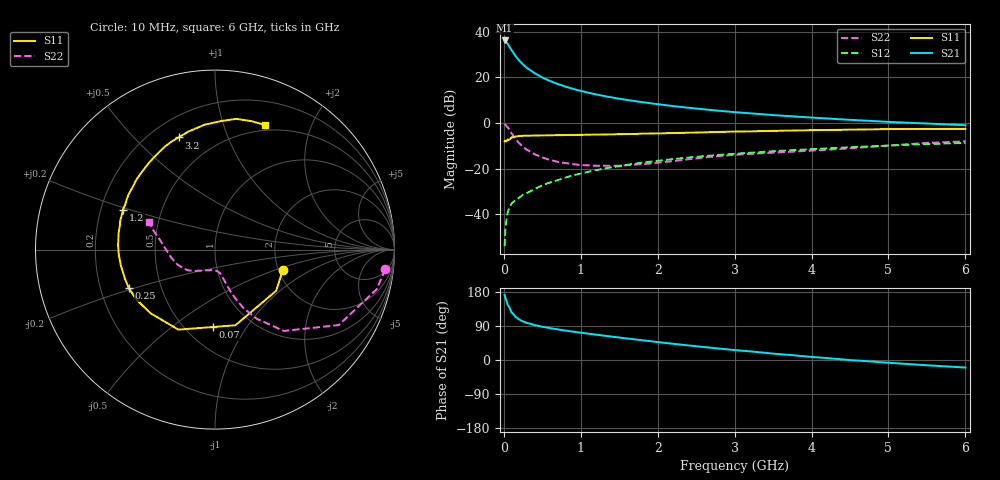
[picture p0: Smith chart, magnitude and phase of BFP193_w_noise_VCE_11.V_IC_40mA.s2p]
! Infineon Technologies  Discrete & RF Semiconductors
! BFP193
! VCE =  11. V,  IC =  40 mA
! Common Emitter S-Parameters:  Jan 2017
# GHz  S  MA  R  50
!  f  S11  S21  S12  S22
! GHz  MAG  ANG  MAG  ANG  MAG  ANG  MAG  ANG
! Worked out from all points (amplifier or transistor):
!   77 points, 10 MHz to 6 GHz, reference 50 ohm
!   highest |S21| = 36.2 dB at 10 MHz (marker M1)
!   |S21| within 3 dB of that: start of sweep to 77.22 MHz
!   unconditionally stable (mu >= 1): 660.7 MHz to 2.449 GHz
!   at 130 MHz: K = 0.51, MSG = 32.4 dB, |S12| = -34.4 dB
!   at 2.2 GHz: K = 1.01, MAG = 10.9 dB, |S12| = -15.8 dB
!   at 6 GHz: K = 0.90, MSG = 3.9 dB, |S12| = -8.7 dB
!   lowest NFmin = 1.38 dB at 450 MHz
!   S11 on the Smith chart (normalised r, x): 10 MHz: 2.11, -0.57; 70 MHz: 0.67, -0.71; 250 MHz: 0.32, -0.19; 1.2 GHz: 0.29, +0.19; 3.2 GHz: 0.31, +0.68; 6 GHz: 0.44, +1.38
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0.01  0.3943 -16.7  64.6 171.6  0.002 81.8  0.9551 -6.6
0.02  0.411 -33.9  63.79 164.7  0.0045 85.0  0.9273 -13.8
0.05  0.4367 -74.9  54.42 146.0  0.011 67.4  0.8074 -31.4
0.07  0.4315 -91.8  47.9 139.4  0.0134 62.2  0.714 -37.4
0.1  0.4904 -114.6  39.79 125.7  0.0172 57.2  0.5941 -49.7
0.15  0.5048 -135.4  29.68 114.2  0.0203 55.6  0.45 -58.9
0.2  0.5187 -147.5  23.39 106.9  0.0232 57.5  0.3613 -64.1
0.25  0.5261 -156.0  19.16 101.5  0.0269 57.3  0.3012 -67.0
0.3  0.5271 -161.9  16.18 97.9  0.0292 58.7  0.2591 -69.2
0.4  0.532 -170.4  12.37 92.1  0.0357 62.5  0.2073 -71.6
0.5  0.5365 -176.7  9.951 87.7  0.0431 63.4  0.1759 -73.4
0.7  0.5417 174.0  7.179 80.9  0.0559 65.4  0.1409 -76.7
0.9  0.5463 166.3  5.602 74.8  0.0713 65.5  0.1257 -81.4
1.1  0.5543 159.6  4.62 69.5  0.0857 64.4  0.1181 -86.5
1.2  0.5584 156.6  4.239 66.8  0.0928 64.0  0.1159 -89.4
1.6  0.5736 144.9  3.211 56.8  0.1211 60.5  0.1188 -104.3
2.1  0.5978 131.4  2.47 45.1  0.1555 55.1  0.1407 -123.6
3.1  0.653 109.8  1.684 24.5  0.2177 43.2  0.2056 -150.1
3.2  0.6573 108.0  1.634 22.8  0.2233 42.1  0.2101 -152.3
4.1  0.7008 93.3  1.288 6.6  0.2739 31.9  0.2542 -172.7
5.1  0.7383 79.5  1.042 -8.6  0.3257 20.7  0.3296 166.8
6  0.7481 68.2  0.896 -20.0  0.3673 10.6  0.3966 157.0
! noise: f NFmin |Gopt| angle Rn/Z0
0.45  1.38  0.38  -172  0.08
0.9  1.43  0.41  -167  0.08
1.9  2.05  0.59  -135  0.2
2.4  2.37  0.63  -120  0.42
